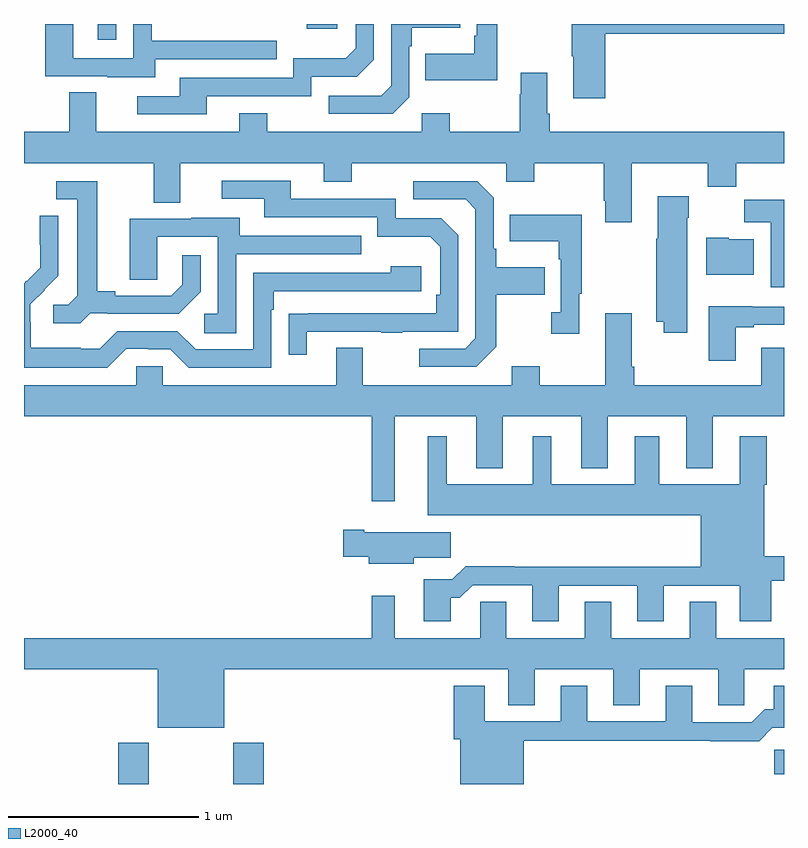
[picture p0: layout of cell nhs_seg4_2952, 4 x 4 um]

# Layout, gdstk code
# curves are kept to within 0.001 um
import gdstk
lib = gdstk.Library(unit=1e-6, precision=1e-09)
def R(c, l, rs):  # rectangles x0, y0, x1, y1
    for r in rs: c.add(gdstk.rectangle(r[:2], r[2:], *l))
def P(c, l, *ps):  # polygons
    for p in ps: c.add(gdstk.Polygon(p, *l))
L2000_40 = (2000, 40)

nhs_seg4_2952 = lib.new_cell('nhs_seg4_2952')
R(nhs_seg4_2952, L2000_40, [(267.497,778.9,267.657,779.116), (268.102,778.9,268.262,779.116), (270.948,778.952,271,779.081), (267.389,782.817,267.486,782.9), (268.487,782.876,268.648,782.9)])
P(nhs_seg4_2952, L2000_40, [(269.491,782.9),(269.382,782.9),(269.382,782.839),(269.37,782.839),(269.37,782.743),(269.113,782.743),(269.113,782.603),(269.491,782.603)],
  [(269.028,782.514),(269.028,782.783),(269.041,782.783),(269.041,782.879),(269.297,782.879),(269.297,782.9),(268.932,782.9),(268.932,782.574),(268.881,782.523),(268.605,782.523),(268.605,782.427),(268.941,782.427)],
  [(267.961,782.52),(268.512,782.52),(268.512,782.622),(268.752,782.622),(268.842,782.712),(268.842,782.9),(268.746,782.9),(268.746,782.772),(268.693,782.719),(268.416,782.719),(268.416,782.616),(267.821,782.616),(267.821,782.52),(267.597,782.52),(267.597,782.424),(267.961,782.424)],
  [(267.691,782.715),(268.331,782.715),(268.331,782.811),(267.672,782.811),(267.672,782.9),(267.576,782.9),(267.576,782.721),(267.258,782.721),(267.258,782.9),(267.113,782.9),(267.113,782.625),(267.437,782.625),(267.437,782.621),(267.691,782.621)],
  [(270.059,782.848),(271,782.848),(271,782.9),(269.884,782.9),(269.884,782.731),(269.891,782.731),(269.891,782.508),(270.059,782.508)],
  [(270.199,782.168),(270.598,782.168),(270.598,782.044),(270.749,782.044),(270.749,782.168),(271,782.168),(271,782.332),(269.768,782.332),(269.768,782.428),(269.755,782.428),(269.755,782.644),(269.615,782.644),(269.615,782.531),(269.608,782.531),(269.608,782.332),(269.241,782.332),(269.241,782.431),(269.094,782.431),(269.094,782.332),(268.281,782.332),(268.281,782.431),(268.133,782.431),(268.133,782.332),(267.379,782.332),(267.379,782.54),(267.239,782.54),(267.239,782.332),(267,782.332),(267,782.168),(267.683,782.168),(267.683,781.96),(267.823,781.96),(267.823,782.168),(268.577,782.168),(268.577,782.069),(268.725,782.069),(268.725,782.168),(269.538,782.168),(269.538,782.069),(269.685,782.069),(269.685,782.168),(270.052,782.168),(270.052,781.969),(270.059,781.969),(270.059,781.857),(270.199,781.857)],
  [(268.489,781.281),(268.879,781.281),(268.879,781.276),(268.991,781.276),(268.991,781.281),(269.286,781.281),(269.286,781.788),(269.196,781.878),(268.956,781.878),(268.956,781.98),(268.405,781.98),(268.405,782.076),(268.041,782.076),(268.041,781.98),(268.265,781.98),(268.265,781.884),(268.86,781.884),(268.86,781.781),(269.137,781.781),(269.19,781.728),(269.19,781.474),(269.17,781.474),(269.17,781.377),(268.393,781.376),(268.393,781.158),(268.489,781.158)],
  [(267.348,781.377),(267.442,781.377),(267.442,781.374),(267.814,781.374),(267.93,781.49),(267.93,781.684),(267.833,781.684),(267.833,781.527),(267.776,781.47),(267.481,781.47),(267.481,781.493),(267.385,781.493),(267.385,782.073),(267.171,782.073),(267.171,781.977),(267.281,781.977),(267.281,781.469),(267.234,781.422),(267.153,781.422),(267.153,781.325),(267.296,781.325)],
  [(269.485,781.201),(269.485,781.474),(269.741,781.474),(269.741,781.621),(269.485,781.621),(269.485,781.717),(269.472,781.717),(269.472,781.986),(269.385,782.073),(269.049,782.073),(269.049,781.977),(269.325,781.977),(269.376,781.926),(269.376,781.245),(269.322,781.191),(269.079,781.191),(269.079,781.095),(269.379,781.095)],
  [(270.49,781.88),(270.498,781.88),(270.498,781.993),(270.335,781.993),(270.335,781.769),(270.328,781.769),(270.328,781.334),(270.368,781.334),(270.368,781.275),(270.49,781.275)],
  [(271,781.974),(270.79,781.974),(270.79,781.856),(270.929,781.856),(270.929,781.515),(271,781.515)],
  [(269.923,781.481),(269.935,781.481),(269.935,781.897),(269.557,781.897),(269.557,781.757),(269.814,781.757),(269.814,781.661),(269.826,781.661),(269.826,781.382),(269.775,781.382),(269.775,781.269),(269.923,781.269)],
  [(267.537,781.191),(267.653,781.191),(267.653,781.188),(267.771,781.188),(267.867,781.092),(268.302,781.092),(268.302,781.397),(268.315,781.397),(268.315,781.494),(269.092,781.494),(269.092,781.624),(268.931,781.624),(268.931,781.59),(268.206,781.59),(268.206,781.188),(267.903,781.188),(267.807,781.284),(267.492,781.284),(267.399,781.191),(267.299,781.191),(267.299,781.195),(267.036,781.195),(267.036,781.329),(267.034,781.329),(267.034,781.426),(267.18,781.574),(267.18,781.892),(267.084,781.892),(267.084,781.738),(267.086,781.738),(267.086,781.616),(267.015,781.545),(267.012,781.548),(267,781.536),(267,781.091),(267.437,781.091)],
  [(268.116,781.689),(268.775,781.689),(268.775,781.785),(268.135,781.785),(268.135,781.879),(267.881,781.879),(267.881,781.875),(267.557,781.875),(267.557,781.555),(267.702,781.555),(267.702,781.779),(268.02,781.779),(268.02,781.374),(267.948,781.374),(267.948,781.273),(268.116,781.273)],
  [(270.841,781.768),(270.708,781.768),(270.708,781.774),(270.59,781.774),(270.59,781.58),(270.841,781.58)],
  [(270.745,781.305),(270.841,781.305),(270.841,781.317),(271,781.317),(271,781.413),(270.833,781.413),(270.833,781.414),(270.605,781.414),(270.605,781.128),(270.745,781.128)],
  [(268.951,780.836),(269.381,780.836),(269.381,780.563),(269.521,780.563),(269.521,780.836),(269.933,780.836),(269.933,780.563),(270.073,780.563),(270.073,780.836),(270.485,780.836),(270.485,780.563),(270.625,780.563),(270.625,780.836),(271,780.836),(271,781.195),(270.881,781.195),(270.881,781),(270.212,781),(270.212,781.096),(270.199,781.096),(270.199,781.378),(270.059,781.378),(270.059,781),(269.715,781),(269.715,781.099),(269.567,781.099),(269.567,781),(268.783,781),(268.783,781.195),(268.643,781.195),(268.643,781),(267.729,781),(267.729,781.098),(267.591,781.098),(267.591,781),(267,781),(267,780.836),(268.83,780.836),(268.83,780.387),(268.951,780.387)],
  [(269.245,779.879),(269.294,779.879),(269.361,779.946),(269.675,779.946),(269.675,779.757),(269.815,779.757),(269.815,779.943),(270.227,779.943),(270.227,779.757),(270.367,779.757),(270.367,779.943),(270.767,779.943),(270.767,779.757),(270.932,779.757),(270.932,779.97),(271,779.97),(271,780.098),(270.895,780.098),(270.895,780.474),(270.908,780.474),(270.908,780.73),(270.767,780.73),(270.767,780.478),(270.343,780.478),(270.343,780.73),(270.215,780.73),(270.215,780.478),(269.776,780.478),(269.776,780.73),(269.678,780.73),(269.678,780.478),(269.224,780.478),(269.224,780.73),(269.126,780.73),(269.126,780.314),(270.563,780.314),(270.563,780.044),(269.579,780.044),(269.579,780.047),(269.324,780.047),(269.254,779.977),(269.105,779.977),(269.105,779.757),(269.245,779.757)],
  [(269.05,780.091),(269.245,780.091),(269.245,780.226),(268.792,780.226),(268.792,780.239),(268.68,780.239),(268.68,780.097),(268.814,780.097),(268.814,780.059),(269.05,780.059)],
  [(268.054,779.504),(269.549,779.504),(269.549,779.314),(269.689,779.314),(269.689,779.504),(270.101,779.504),(270.101,779.314),(270.241,779.314),(270.241,779.504),(270.653,779.504),(270.653,779.314),(270.792,779.314),(270.792,779.504),(271,779.504),(271,779.668),(270.643,779.668),(270.643,779.858),(270.503,779.858),(270.503,779.668),(270.091,779.668),(270.091,779.858),(269.951,779.858),(269.951,779.668),(269.539,779.668),(269.539,779.858),(269.4,779.858),(269.4,779.668),(268.951,779.668),(268.951,779.89),(268.83,779.89),(268.83,779.668),(267,779.668),(267,779.504),(267.704,779.504),(267.704,779.195),(268.054,779.195)],
  [(269.629,779.128),(270.613,779.128),(270.613,779.126),(270.869,779.126),(270.938,779.195),(271,779.195),(271,779.416),(270.947,779.416),(270.947,779.293),(270.898,779.293),(270.831,779.226),(270.517,779.226),(270.517,779.416),(270.377,779.416),(270.377,779.229),(269.965,779.229),(269.965,779.416),(269.825,779.416),(269.825,779.229),(269.425,779.229),(269.425,779.416),(269.261,779.416),(269.261,779.136),(269.297,779.136),(269.297,778.9),(269.629,778.9)])

lib.write_gds('nhs_seg4_2952.gds')
